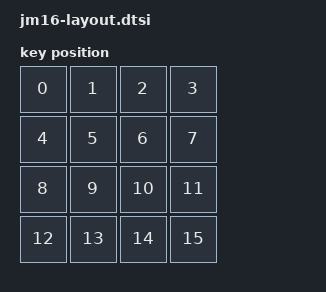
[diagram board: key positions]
#include <physical_layouts.dtsi>

/ {
    jm16_layout: jm16_layout {
        compatible = "zmk,physical-layout";
        display-name = "Layout";
        transform = <&default_transform>;
        keys  //                     w   h    x    y     rot    rx    ry
            = <&key_physical_attrs 100 100    0    0       0     0     0>
            , <&key_physical_attrs 100 100  100    0       0     0     0>
            , <&key_physical_attrs 100 100  200    0       0     0     0>
            , <&key_physical_attrs 100 100  300    0       0     0     0>
            , <&key_physical_attrs 100 100    0  100       0     0     0>
            , <&key_physical_attrs 100 100  100  100       0     0     0>
            , <&key_physical_attrs 100 100  200  100       0     0     0>
            , <&key_physical_attrs 100 100  300  100       0     0     0>
            , <&key_physical_attrs 100 100    0  200       0     0     0>
            , <&key_physical_attrs 100 100  100  200       0     0     0>
            , <&key_physical_attrs 100 100  200  200       0     0     0>
            , <&key_physical_attrs 100 100  300  200       0     0     0>
            , <&key_physical_attrs 100 100    0  300       0     0     0>
            , <&key_physical_attrs 100 100  100  300       0     0     0>
            , <&key_physical_attrs 100 100  200  300       0     0     0>
            , <&key_physical_attrs 100 100  300  300       0     0     0>
            ;
    };
};
